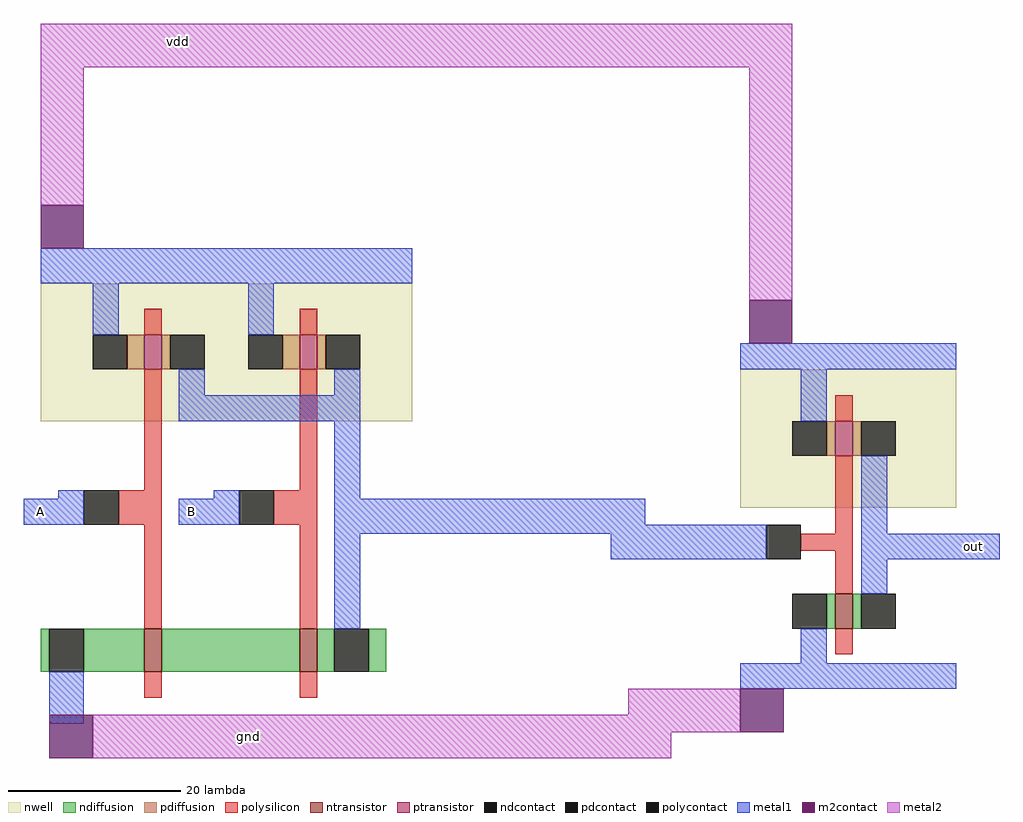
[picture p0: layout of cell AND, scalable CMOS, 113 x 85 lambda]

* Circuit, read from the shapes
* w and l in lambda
.subckt AND A B gnd out vdd
M1 n1 A gnd VSUBS nfet w=5 l=2
M2 not_0/in B n1 VSUBS nfet w=5 l=2
M3 out not_0/in gnd VSUBS nfet w=4 l=2
M4 not_0/in A vdd n2 pfet w=4 l=2
M5 not_0/in B vdd n2 pfet w=4 l=2
M6 out not_0/in vdd n3 pfet w=4 l=2
.ends

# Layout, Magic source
magic
tech scmos
<< metal1 >>
rect -2 23 5 26
rect 16 23 23 26
rect 41 23 70 26
rect 41 22 82 23
rect 66 19 82 22
rect 106 19 111 22
rect 1 1 5 4
<< m2contact >>
rect 0 55 5 60
rect 82 44 87 49
rect 1 -4 6 1
rect 81 -1 86 4
<< metal2 >>
rect 0 76 87 81
rect 0 60 5 76
rect 82 49 87 76
rect 68 1 81 4
rect 6 -1 81 1
rect 6 -4 73 -1
use not  not_0
transform 1 0 90 0 1 24
box -9 -20 16 20
use NAND  NAND_0
transform 1 0 1 0 1 36
box -1 -36 44 19
<< labels >>
rlabel metal2 22 -2 26 -1 1 gnd
rlabel metal2 13 78 19 80 5 vdd
rlabel metal1 17 24 18 25 1 B
rlabel metal1 -1 24 1 25 3 A
rlabel metal1 107 20 109 21 7 out
<< end >>

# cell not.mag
magic
tech scmos
<< nwell >>
rect -9 1 16 17
<< ntransistor >>
rect 2 -13 4 -9
<< ptransistor >>
rect 2 7 4 11
<< ndiffusion >>
rect 1 -13 2 -9
rect 4 -13 5 -9
<< pdiffusion >>
rect 1 7 2 11
rect 4 7 5 11
<< ndcontact >>
rect -3 -13 1 -9
rect 5 -13 9 -9
<< pdcontact >>
rect -3 7 1 11
rect 5 7 9 11
<< polysilicon >>
rect 2 11 4 14
rect 2 -2 4 7
rect -2 -4 4 -2
rect 2 -9 4 -4
rect 2 -16 4 -13
<< polycontact >>
rect -6 -5 -2 -1
<< metal1 >>
rect -9 17 16 20
rect -2 11 1 17
rect -8 -5 -6 -1
rect 5 -2 8 7
rect 5 -5 16 -2
rect 5 -9 8 -5
rect -2 -17 1 -13
rect -9 -20 16 -17
<< labels >>
rlabel metal1 -5 18 -3 19 4 VDD
rlabel metal1 -8 -4 -7 -2 3 in
rlabel metal1 13 -4 15 -3 7 out
rlabel metal1 -2 -19 0 -18 1 gnd
<< end >>

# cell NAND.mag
magic
tech scmos
<< nwell >>
rect -1 -1 42 15
<< ntransistor >>
rect 11 -30 13 -25
rect 29 -30 31 -25
<< ptransistor >>
rect 11 5 13 9
rect 29 5 31 9
<< ndiffusion >>
rect -1 -30 0 -25
rect 4 -30 11 -25
rect 13 -30 29 -25
rect 31 -30 33 -25
rect 37 -30 39 -25
<< pdiffusion >>
rect 9 5 11 9
rect 13 5 14 9
rect 27 5 29 9
rect 31 5 32 9
<< ndcontact >>
rect 0 -30 4 -25
rect 33 -30 37 -25
<< pdcontact >>
rect 5 5 9 9
rect 14 5 18 9
rect 23 5 27 9
rect 32 5 36 9
<< polysilicon >>
rect 11 9 13 12
rect 29 9 31 12
rect 11 -9 13 5
rect 29 -9 31 5
rect 8 -13 13 -9
rect 26 -13 31 -9
rect 11 -25 13 -13
rect 29 -25 31 -13
rect 11 -33 13 -30
rect 29 -33 31 -30
<< polycontact >>
rect 4 -13 8 -9
rect 22 -13 26 -9
<< metal1 >>
rect -1 15 42 19
rect 5 9 8 15
rect 23 9 26 15
rect 15 2 18 5
rect 33 2 36 5
rect 15 -1 36 2
rect 1 -13 4 -9
rect 19 -13 22 -9
rect 33 -10 36 -1
rect 33 -14 44 -10
rect 33 -25 36 -14
rect 0 -36 4 -30
<< labels >>
rlabel metal1 2 -12 3 -10 3 A
rlabel metal1 20 -12 21 -10 1 B
rlabel metal1 0 16 3 18 4 vdd
rlabel metal1 39 -13 42 -11 7 out
rlabel metal1 1 -35 3 -33 2 gnd
<< end >>
